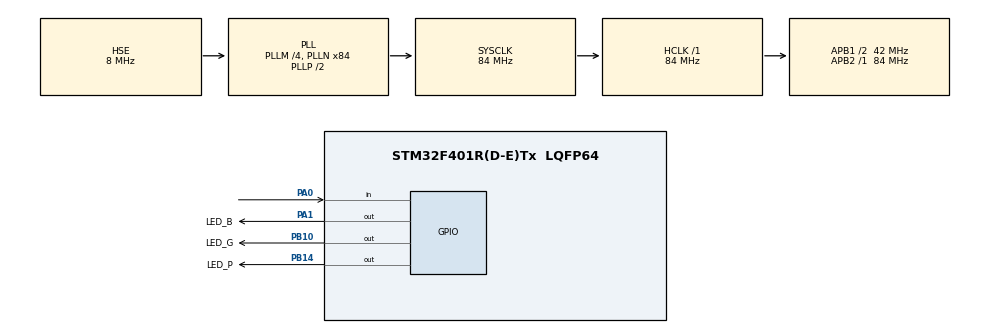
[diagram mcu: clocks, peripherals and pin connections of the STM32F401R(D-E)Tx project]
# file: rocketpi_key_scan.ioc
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Mcu.Family=STM32F4
Mcu.Name=STM32F401R(D-E)Tx
Mcu.Package=LQFP64
NVIC.PriorityGroup=NVIC_PRIORITYGROUP_4
PA0-WKUP.Signal=GPIO_Input
PA1.GPIO_Label=LED_B
PA1.PinState=GPIO_PIN_SET
PA1.Signal=GPIO_Output
PA13.GPIO_Label=TMS
PA13.Mode=Serial_Wire
PA13.Signal=SYS_JTMS-SWDIO
PA14.GPIO_Label=TCK
PA14.Mode=Serial_Wire
PA14.Signal=SYS_JTCK-SWCLK
PB10.GPIO_Label=LED_G
PB10.PinState=GPIO_PIN_SET
PB10.Signal=GPIO_Output
PB14.GPIO_Label=LED_P
PB14.PinState=GPIO_PIN_SET
PB14.Signal=GPIO_Output
PH0\ -\ OSC_IN.Mode=HSE-External-Oscillator
PH0\ -\ OSC_IN.Signal=RCC_OSC_IN
PH1\ -\ OSC_OUT.Mode=HSE-External-Oscillator
PH1\ -\ OSC_OUT.Signal=RCC_OSC_OUT
ProjectManager.HeapSize=0x800
ProjectManager.StackSize=0x800
ProjectManager.TargetToolchain=MDK-ARM V5.27
RCC.48MHZClocksFreq_Value=24000000
RCC.AHBFreq_Value=84000000
RCC.APB1CLKDivider=RCC_HCLK_DIV2
RCC.APB1Freq_Value=42000000
RCC.APB1TimFreq_Value=84000000
RCC.APB2Freq_Value=84000000
RCC.APB2TimFreq_Value=84000000
RCC.CortexFreq_Value=84000000
RCC.HCLKFreq_Value=84000000
RCC.HSE_VALUE=8000000
RCC.HSI_VALUE=16000000
RCC.LSE_VALUE=32768
RCC.PLLM=4
RCC.PLLN=84
RCC.PLLQ=7
RCC.PLLSourceVirtual=RCC_PLLSOURCE_HSE
RCC.SYSCLKFreq_VALUE=84000000
RCC.SYSCLKSource=RCC_SYSCLKSOURCE_PLLCLK
RCC.VCOOutputFreq_Value=168000000
board=NUCLEO-F401RE

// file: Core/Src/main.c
/* USER CODE BEGIN Header */
/**
  ******************************************************************************
  * @file           : main.c
  * @brief          : Main program body
  ******************************************************************************
  * @attention
  *
  * Copyright (c) 2025 STMicroelectronics.
  * All rights reserved.
  *
  * This software is licensed under terms that can be found in the LICENSE file
  * in the root directory of this software component.
  * If no LICENSE file comes with this software, it is provided AS-IS.
  *
  ******************************************************************************
  */
/* USER CODE END Header */
#include "main.h"
#include "gpio.h"

void SystemClock_Config(void);

int main(void)
{

  /* MCU Configuration--------------------------------------------------------*/

  /* Reset of all peripherals, Initializes the Flash interface and the Systick. */
  HAL_Init();

  /* Configure the system clock */
  SystemClock_Config();

  /* Initialize all configured peripherals */
  MX_GPIO_Init();

  /* Infinite loop */
  /* USER CODE BEGIN WHILE */
  while (1)
  {

		#if 0
		/* 按下点亮LED，松开熄灭LED */
		if(HAL_GPIO_ReadPin(GPIOA,GPIO_PIN_0))   //检测到按下
		{
			HAL_GPIO_WritePin(LED_B_GPIO_Port, LED_B_Pin, GPIO_PIN_RESET);
			HAL_GPIO_WritePin(GPIOB, LED_G_Pin|LED_P_Pin, GPIO_PIN_RESET);
		}else{
			HAL_GPIO_WritePin(LED_B_GPIO_Port, LED_B_Pin, GPIO_PIN_SET);
			HAL_GPIO_WritePin(GPIOB, LED_G_Pin|LED_P_Pin, GPIO_PIN_SET);
		}
		HAL_Delay(20);
		#else
		/* 每按下一次，翻转一次LED */
		if (HAL_GPIO_ReadPin(GPIOA, GPIO_PIN_0) == GPIO_PIN_SET) {   // 检测到按下
             HAL_Delay(20);                                      // 去抖
       if (HAL_GPIO_ReadPin(GPIOA, GPIO_PIN_0) == GPIO_PIN_SET) { // 仍然按下
          	HAL_GPIO_TogglePin(LED_B_GPIO_Port, LED_B_Pin); //翻转LED
						HAL_GPIO_TogglePin(GPIOB, LED_G_Pin|LED_P_Pin);

            // 等待松手，防止一次长按触发多次
            while (HAL_GPIO_ReadPin(GPIOA, GPIO_PIN_0) == GPIO_PIN_SET) {
                HAL_Delay(5);
            }
				  }
			 }
		#endif

    /* USER CODE END WHILE */

  }
}

void SystemClock_Config(void)
{
  RCC_OscInitTypeDef RCC_OscInitStruct = {0};
  RCC_ClkInitTypeDef RCC_ClkInitStruct = {0};

  /** Configure the main internal regulator output voltage
  */
  __HAL_RCC_PWR_CLK_ENABLE();
  __HAL_PWR_VOLTAGESCALING_CONFIG(PWR_REGULATOR_VOLTAGE_SCALE2);

  /** Initializes the RCC Oscillators according to the specified parameters
  * in the RCC_OscInitTypeDef structure.
  */
  RCC_OscInitStruct.OscillatorType = RCC_OSCILLATORTYPE_HSE;
  RCC_OscInitStruct.HSEState = RCC_HSE_ON;
  RCC_OscInitStruct.PLL.PLLState = RCC_PLL_ON;
  RCC_OscInitStruct.PLL.PLLSource = RCC_PLLSOURCE_HSE;
  RCC_OscInitStruct.PLL.PLLM = 4;
  RCC_OscInitStruct.PLL.PLLN = 84;
  RCC_OscInitStruct.PLL.PLLP = RCC_PLLP_DIV2;
  RCC_OscInitStruct.PLL.PLLQ = 7;
  if (HAL_RCC_OscConfig(&RCC_OscInitStruct) != HAL_OK)
  {
    Error_Handler();
  }

  /** Initializes the CPU, AHB and APB buses clocks
  */
  RCC_ClkInitStruct.ClockType = RCC_CLOCKTYPE_HCLK|RCC_CLOCKTYPE_SYSCLK
                              |RCC_CLOCKTYPE_PCLK1|RCC_CLOCKTYPE_PCLK2;
  RCC_ClkInitStruct.SYSCLKSource = RCC_SYSCLKSOURCE_PLLCLK;
  RCC_ClkInitStruct.AHBCLKDivider = RCC_SYSCLK_DIV1;
  RCC_ClkInitStruct.APB1CLKDivider = RCC_HCLK_DIV2;
  RCC_ClkInitStruct.APB2CLKDivider = RCC_HCLK_DIV1;

  if (HAL_RCC_ClockConfig(&RCC_ClkInitStruct, FLASH_LATENCY_2) != HAL_OK)
  {
    Error_Handler();
  }
}

void Error_Handler(void)
{
  __disable_irq();
  while (1)
  {
  }
}
